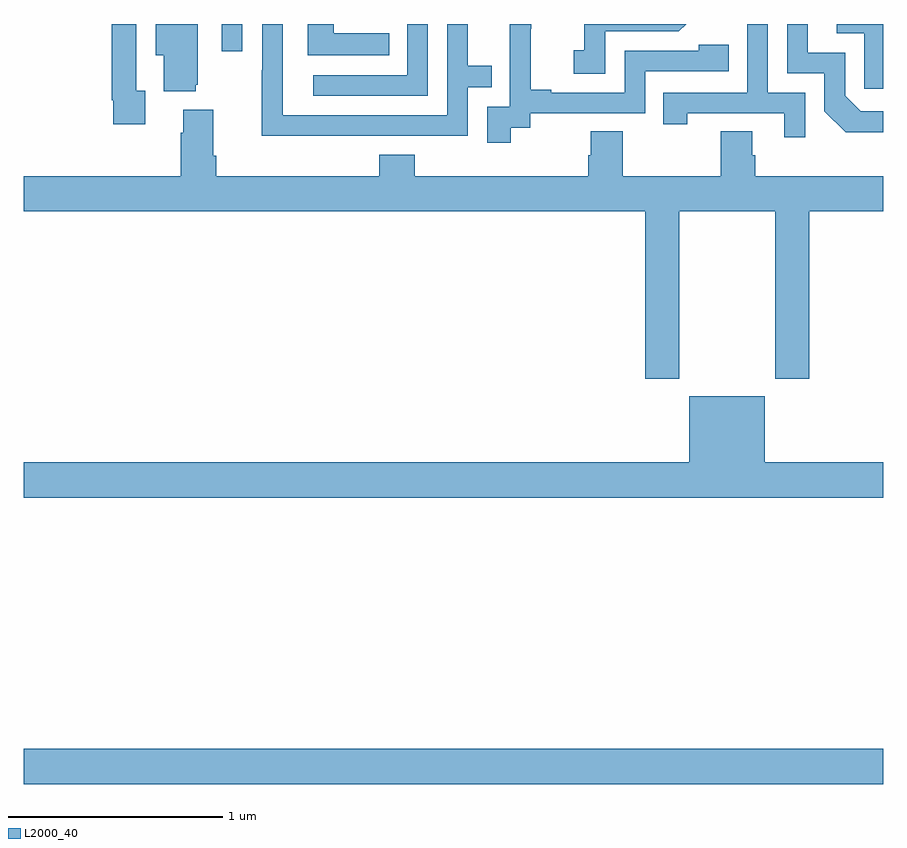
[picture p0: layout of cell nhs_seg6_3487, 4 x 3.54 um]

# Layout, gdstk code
import gdstk
lib = gdstk.Library(unit=1e-6, precision=1e-09)
def R(c, l, rs):  # rectangles x0, y0, x1, y1
    for r in rs: c.add(gdstk.rectangle(r[:2], r[2:], *l))
def P(c, l, *ps):  # polygons
    for p in ps: c.add(gdstk.Polygon(p, *l))
L2000_40 = (2000, 40)

nhs_seg6_3487 = lib.new_cell('nhs_seg6_3487')
R(nhs_seg6_3487, L2000_40, [(315,985.964,319,986.128), (315.921,989.373,316.017,989.5)])
P(nhs_seg6_3487, L2000_40, [(316.571,988.98),(317.067,988.98),(317.067,989.205),(317.177,989.205),(317.177,989.306),(317.067,989.306),(317.067,989.5),(316.971,989.5),(316.971,989.076),(316.206,989.076),(316.206,989.5),(316.11,989.5),(316.11,989.285),(316.108,989.285),(316.108,988.979),(316.571,988.979)],
  [(319,989.094),(318.894,989.094),(318.822,989.166),(318.822,989.367),(318.649,989.367),(318.649,989.5),(318.552,989.5),(318.552,989.271),(318.726,989.271),(318.726,989.094),(318.824,988.997),(319,988.997)],
  [(315.565,989.19),(315.525,989.19),(315.525,989.5),(315.409,989.5),(315.409,989.146),(315.417,989.146),(315.417,989.034),(315.565,989.034)],
  [(318.636,989.181),(318.462,989.181),(318.462,989.5),(318.366,989.5),(318.366,989.181),(317.977,989.181),(317.977,989.034),(318.088,989.034),(318.088,989.085),(318.539,989.085),(318.539,988.974),(318.636,988.974)],
  [(317.706,989.466),(318.048,989.466),(318.082,989.5),(317.608,989.5),(317.608,989.377),(317.559,989.377),(317.559,989.268),(317.706,989.268)],
  [(315.8,989.217),(315.811,989.217),(315.811,989.5),(315.614,989.5),(315.614,989.354),(315.653,989.354),(315.653,989.186),(315.8,989.186)],
  [(316.7,989.458),(316.443,989.458),(316.443,989.5),(316.322,989.5),(316.322,989.354),(316.7,989.354)],
  [(319,989.5),(318.783,989.5),(318.783,989.457),(318.912,989.457),(318.912,989.199),(319,989.199)],
  [(316.881,989.5),(316.785,989.5),(316.785,989.262),(316.347,989.262),(316.347,989.166),(316.881,989.166)],
  [(317.266,989.017),(317.358,989.017),(317.358,989.085),(317.892,989.085),(317.892,989.28),(318.281,989.28),(318.281,989.403),(318.141,989.403),(318.141,989.376),(317.796,989.376),(317.796,989.181),(317.455,989.181),(317.455,989.194),(317.36,989.194),(317.36,989.477),(317.361,989.477),(317.361,989.5),(317.261,989.5),(317.261,989.345),(317.262,989.345),(317.262,989.115),(317.157,989.115),(317.157,988.947),(317.266,988.947)],
  [(317.891,987.849),(318.051,987.849),(318.051,988.628),(318.496,988.628),(318.496,987.849),(318.656,987.849),(318.656,988.628),(319,988.628),(319,988.792),(318.404,988.792),(318.404,988.89),(318.391,988.89),(318.391,989),(318.244,989),(318.244,988.792),(317.787,988.792),(317.787,989),(317.639,989),(317.639,988.89),(317.627,988.89),(317.627,988.792),(316.82,988.792),(316.82,988.891),(316.655,988.891),(316.655,988.792),(315.896,988.792),(315.896,988.888),(315.883,988.888),(315.883,989.101),(315.743,989.101),(315.743,988.994),(315.731,988.994),(315.731,988.792),(315,988.792),(315,988.628),(317.891,988.628)],
  [(319,987.46),(318.448,987.46),(318.448,987.769),(318.098,987.769),(318.098,987.46),(315,987.46),(315,987.296),(319,987.296)])

lib.write_gds('nhs_seg6_3487.gds')
